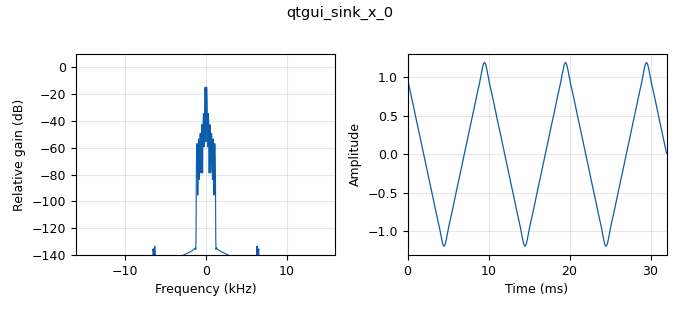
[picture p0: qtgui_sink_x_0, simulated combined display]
options:
  parameters:
    author: vivelpanel
    generate_options: qt_gui
    id: wvu_spectrometer_1
    output_language: python
    title: signal source
  states: {}

blocks:
- name: amplitude1
  id: variable_qtgui_range
  parameters:
    label: Volume
    start: '-1'
    step: '.01'
    stop: '1'
    value: '-1'
  states: {}
- name: amplitude2
  id: variable_qtgui_range
  parameters:
    label: Volume
    start: '-1'
    step: '.01'
    stop: '1'
    value: '.111'
  states: {}
- name: amplitude3
  id: variable_qtgui_range
  parameters:
    label: Volume
    start: '-1'
    step: '.01'
    stop: '1'
    value: '-.04'
  states: {}
- name: amplitude4
  id: variable_qtgui_range
  parameters:
    label: Volume
    start: '-1'
    step: '.01'
    stop: '1'
    value: '.02'
  states: {}
- name: amplitude5
  id: variable_qtgui_range
  parameters:
    label: Volume
    start: '-1'
    step: '.01'
    stop: '1'
    value: '-.012'
  states: {}
- name: amplitude6
  id: variable_qtgui_range
  parameters:
    label: Volume
    start: '-1'
    step: '.01'
    stop: '1'
    value: '.008'
  states: {}
- name: freq1
  id: variable_qtgui_range
  parameters:
    label: Frequency
    start: '0'
    step: '100'
    stop: '10000'
    value: '100'
  states: {}
- name: freq2
  id: variable_qtgui_range
  parameters:
    label: Frequency
    rangeType: int
    start: '0'
    step: '100'
    stop: '10000'
    value: '300'
  states: {}
- name: freq3
  id: variable_qtgui_range
  parameters:
    label: Frequency
    rangeType: int
    start: '0'
    step: '100'
    stop: '10000'
    value: '500'
  states: {}
- name: freq4
  id: variable_qtgui_range
  parameters:
    label: Frequency
    start: '0'
    step: '100'
    stop: '10000'
    value: '700'
  states: {}
- name: freq5
  id: variable_qtgui_range
  parameters:
    label: Frequency
    rangeType: int
    start: '0'
    step: '100'
    stop: '10000'
    value: '900'
  states: {}
- name: freq6
  id: variable_qtgui_range
  parameters:
    label: Frequency
    rangeType: int
    start: '0'
    step: '100'
    stop: '10000'
    value: '1100'
  states: {}
- name: samp_rate
  id: variable
  parameters:
    value: '32000'
  states: {}
- name: analog_sig_source_x_0
  id: analog_sig_source_x
  parameters:
    amp: amplitude1
    freq: freq1
    offset: '0'
    phase: '0'
    samp_rate: samp_rate
    type: float
    waveform: analog.GR_SIN_WAVE
  states: {}
- name: analog_sig_source_x_0_0
  id: analog_sig_source_x
  parameters:
    amp: amplitude2
    freq: freq2
    offset: '0'
    phase: '0'
    samp_rate: samp_rate
    type: float
    waveform: analog.GR_SIN_WAVE
  states: {}
- name: analog_sig_source_x_0_0_0
  id: analog_sig_source_x
  parameters:
    amp: amplitude3
    freq: freq3
    offset: '0'
    phase: '0'
    samp_rate: samp_rate
    type: float
    waveform: analog.GR_SIN_WAVE
  states: {}
- name: analog_sig_source_x_0_0_0_0
  id: analog_sig_source_x
  parameters:
    amp: amplitude6
    freq: freq6
    offset: '0'
    phase: '0'
    samp_rate: samp_rate
    type: float
    waveform: analog.GR_SIN_WAVE
  states: {}
- name: analog_sig_source_x_0_0_1
  id: analog_sig_source_x
  parameters:
    amp: amplitude5
    freq: freq5
    offset: '0'
    phase: '0'
    samp_rate: samp_rate
    type: float
    waveform: analog.GR_SIN_WAVE
  states: {}
- name: analog_sig_source_x_0_1
  id: analog_sig_source_x
  parameters:
    amp: amplitude4
    freq: freq4
    offset: '0'
    phase: '0'
    samp_rate: samp_rate
    type: float
    waveform: analog.GR_SIN_WAVE
  states: {}
- name: audio_sink_0
  id: audio_sink
  parameters:
    samp_rate: samp_rate
  states: {}
- name: blocks_add_xx_0
  id: blocks_add_xx
  parameters:
    num_inputs: '6'
    type: float
  states: {}
- name: qtgui_sink_x_0
  id: qtgui_sink_x
  parameters:
    bw: samp_rate
    fc: '0'
    fftsize: '1024'
    type: float
  states: {}

connections:
- [analog_sig_source_x_0, '0', blocks_add_xx_0, '0']
- [analog_sig_source_x_0_0, '0', blocks_add_xx_0, '1']
- [analog_sig_source_x_0_0_0, '0', blocks_add_xx_0, '2']
- [analog_sig_source_x_0_0_0_0, '0', blocks_add_xx_0, '5']
- [analog_sig_source_x_0_0_1, '0', blocks_add_xx_0, '4']
- [analog_sig_source_x_0_1, '0', blocks_add_xx_0, '3']
- [blocks_add_xx_0, '0', audio_sink_0, '0']
- [blocks_add_xx_0, '0', qtgui_sink_x_0, '0']

metadata:
  file_format: 1
